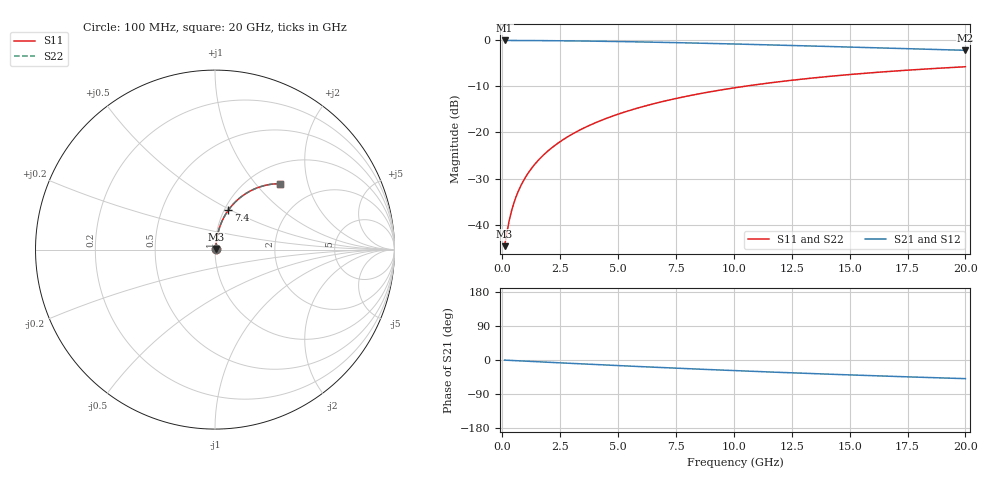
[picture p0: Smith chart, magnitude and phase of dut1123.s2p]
! Touchstone file exported from HFSS 2024.1.0
!  File:  C:/UserFiles/LocalFiles/RDL_TSV_Batchsim/temp_RDL_top_1123_1780047120.aedt
!  Generated:  05:34:14 PM May 29, 2026
!  Design:  RDL_top
!  Project:  temp_RDL_top_1123_1780047120
!  Setup:  Setup1
!  Solution:  Sweep
! Variables:
!  dtsv = 10.80580581um
!  hbump = 3um
!  htsv = 76.36um
!  ldown = 100um
!  lrdl = 628.6um
!  p = 40
!  p1 = 58.27um
!  rhole = 1um
!  t = 450um
!  tdown = 3.915915916um
!  trdl = 3.14um
!  wdown = 15.38538539um
!  wrdl = 15.05um
# GHz S MA R 50.000000
! Terminal data exported
! Port[1] = Box2_T1
! Port[2] = Box2_T2
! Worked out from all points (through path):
!   200 points, 100 MHz to 20 GHz, reference 50 ohm
!   highest |S21| = -0.04 dB at 100 MHz (marker M1); lowest = -2.2 dB at 20 GHz (marker M2)
!   group delay of S21, straight-line fit = 6.83 ps
!   lowest |S11| = -44.7 dB at 100 MHz (marker M3), VSWR 1.01, Z = 50.5 + j0.336 ohm
!   |S11| at or under -10 dB: start of sweep to 10.44 GHz
!   |S22| runs from -44.7 to -5.7 dB; largest |S21 - S12| = 2.7e-15
!   S11 on the Smith chart (normalised r, x): 100 MHz: 1.01, +0.01; 7.4 GHz: 1.04, +0.48; 20 GHz: 1.35, +1.36
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0.1  0.005854 34.6  0.9952 -0.3  0.9952 -0.3  0.005854 34.6
! Gamma 0 0 0 0
! Port Impedance 50 0 50 0
0.2  0.00826 53.3  0.9951 -0.6  0.9951 -0.6  0.00826 53.3
0.3  0.01112 62.7  0.9949 -0.9  0.9949 -0.9  0.01112 62.7
0.4  0.01413 67.9  0.9947 -1.2  0.9947 -1.2  0.01413 67.9
0.5  0.01719 71.2  0.9945 -1.5  0.9945 -1.5  0.01719 71.2
0.6  0.02027 73.5  0.9943 -1.8  0.9943 -1.8  0.02027 73.5
0.8  0.02645 76.3  0.9938 -2.4  0.9938 -2.4  0.02645 76.3
1.1  0.03577 78.5  0.9931 -3.3  0.9931 -3.3  0.03577 78.5
1.5  0.04826 79.9  0.9918 -4.5  0.9918 -4.5  0.04826 79.9
1.8  0.05767 80.3  0.9907 -5.4  0.9907 -5.4  0.05767 80.3
2.1  0.06709 80.4  0.9895 -6.3  0.9895 -6.3  0.06709 80.4
2.7  0.08597 80.1  0.9864 -8.1  0.9864 -8.1  0.08597 80.1
3.5  0.1111 79.1  0.9814 -10.4  0.9814 -10.4  0.1111 79.1
4.2  0.1331 78.0  0.9761 -12.5  0.9761 -12.5  0.1331 78.0
5  0.158 76.5  0.9691 -14.7  0.9691 -14.7  0.158 76.5
6.8  0.2129 72.7  0.9507 -19.7  0.9507 -19.7  0.2129 72.7
7.4  0.2308 71.4  0.9438 -21.3  0.9438 -21.3  0.2308 71.4
8.7  0.2684 68.5  0.9281 -24.7  0.9281 -24.7  0.2684 68.5
10.1  0.3071 65.4  0.9102 -28.2  0.9102 -28.2  0.3071 65.4
13.4  0.3896 58.2  0.8658 -35.9  0.8658 -35.9  0.3896 58.2
16.7  0.459 51.5  0.8211 -42.9  0.8211 -42.9  0.459 51.5
20  0.5161 45.4  0.7783 -49.2  0.7783 -49.2  0.5161 45.4
